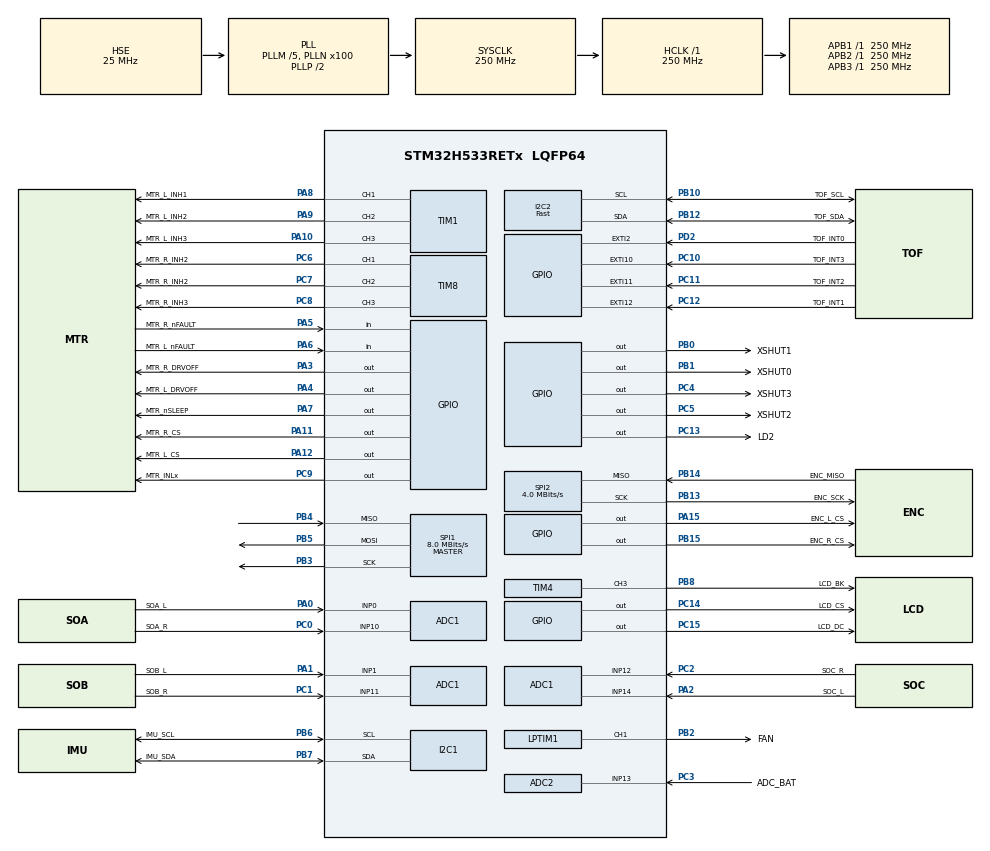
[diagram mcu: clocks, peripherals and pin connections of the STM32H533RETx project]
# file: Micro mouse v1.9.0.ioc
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ADC1.Channel-0\#ChannelRegularConversion=ADC_CHANNEL_0
ADC1.MonitoredBy-0\#ChannelRegularConversion=__NULL
ADC1.NbrOfConversionFlag=1
ADC1.OffsetNumber-0\#ChannelRegularConversion=ADC_OFFSET_NONE
ADC1.Rank-0\#ChannelRegularConversion=1
ADC1.SamplingTime-0\#ChannelRegularConversion=ADC_SAMPLETIME_2CYCLES_5
ADC1.master=1
ADC2.Channel-1\#ChannelRegularConversion=ADC_CHANNEL_13
ADC2.MonitoredBy-1\#ChannelRegularConversion=__NULL
ADC2.NbrOfConversionFlag=1
ADC2.OffsetNumber-1\#ChannelRegularConversion=ADC_OFFSET_NONE
ADC2.Rank-1\#ChannelRegularConversion=1
ADC2.SamplingTime-1\#ChannelRegularConversion=ADC_SAMPLETIME_2CYCLES_5
BOOTPATH.BootPathName=LEGACY
BOOTPATH.UserSelectedBootPath=LEGACY
CORTEX_M33_NS.userName=CORTEX_M33
GPDMA1.DESTINC_GPDMACH0=DMA_DINC_INCREMENTED
GPDMA1.IPHANDLE_GPDMACH0-SIMPLEREQUEST_GPDMACH0=__NULL
GPDMA1.PRIORITY_GPDMACH0=DMA_LOW_PRIORITY_HIGH_WEIGHT
GPDMA1.REQUEST_GPDMACH0=GPDMA1_REQUEST_I2C1_RX
I2C1.Timing=0x60808CD3
I2C2.I2C_Speed_Mode=I2C_Fast
I2C2.Timing=0x10C043E5
Mcu.Family=STM32H5
Mcu.Name=STM32H533RETx
Mcu.Package=LQFP64
NVIC.EXTI10_IRQn=true\:5\:0\:true\:false\:true\:true\:true\:true
NVIC.EXTI11_IRQn=true\:5\:0\:true\:false\:true\:true\:true\:true
NVIC.EXTI12_IRQn=true\:5\:0\:true\:false\:true\:true\:true\:true
NVIC.EXTI2_IRQn=true\:5\:0\:true\:false\:true\:true\:true\:true
NVIC.GPDMA1_Channel0_IRQn=true\:0\:0\:false\:false\:true\:false\:true\:true
NVIC.PriorityGroup=NVIC_PRIORITYGROUP_4
NVIC.TIM3_IRQn=true\:0\:0\:false\:false\:true\:true\:true\:true
NVIC.TIM6_IRQn=true\:0\:0\:false\:false\:true\:true\:true\:true
PA0.GPIO_Label=SOA_L
PA0.Signal=ADCx_INP0
PA1.GPIO_Label=SOB_L
PA1.Signal=ADCx_INP1
PA10.GPIO_Label=MTR_L_INH3
PA10.Signal=S_TIM1_CH3
PA11.GPIO_Label=MTR_R_CS
PA11.Signal=GPIO_Output
PA12.GPIO_Label=MTR_L_CS
PA12.Signal=GPIO_Output
PA13(JTMS/SWDIO).Mode=Serial_Wire
PA13(JTMS/SWDIO).Signal=DEBUG_JTMS-SWDIO
PA14(JTCK/SWCLK).Mode=Serial_Wire
PA14(JTCK/SWCLK).Signal=DEBUG_JTCK-SWCLK
PA15(JTDI).GPIO_Label=ENC_L_CS
PA15(JTDI).Signal=GPIO_Output
PA2.GPIO_Label=SOC_L
PA2.Signal=ADCx_INP14
PA3.GPIO_Label=MTR_R_DRVOFF
PA3.Signal=GPIO_Output
PA4.GPIO_Label=MTR_L_DRVOFF
PA4.Signal=GPIO_Output
PA5.GPIO_Label=MTR_R_nFAULT
PA5.Signal=GPIO_Input
PA6.GPIO_Label=MTR_L_nFAULT
PA6.Signal=GPIO_Input
PA7.GPIO_Label=MTR_nSLEEP
PA7.Signal=GPIO_Output
PA8.GPIO_Label=MTR_L_INH1
PA8.Signal=S_TIM1_CH1
PA9.GPIO_Label=MTR_L_INH2
PA9.Signal=S_TIM1_CH2
PB0.GPIO_Label=XSHUT1
PB0.GPIO_PuPd=GPIO_PULLUP
PB0.Signal=GPIO_Output
PB1.GPIO_Label=XSHUT0
PB1.GPIO_PuPd=GPIO_PULLUP
PB1.Signal=GPIO_Output
PB10.GPIO_Label=TOF_SCL
PB10.GPIO_Speed=GPIO_SPEED_FREQ_VERY_HIGH
PB10.Mode=I2C
PB10.Signal=I2C2_SCL
PB12.GPIO_Label=TOF_SDA
PB12.GPIO_Speed=GPIO_SPEED_FREQ_VERY_HIGH
PB12.Mode=I2C
PB12.Signal=I2C2_SDA
PB13.GPIO_Label=ENC_SCK
PB13.Mode=RX_Only_Simplex_Unidirect_Master
PB13.Signal=SPI2_SCK
PB14.GPIO_Label=ENC_MISO
PB14.Mode=RX_Only_Simplex_Unidirect_Master
PB14.Signal=SPI2_MISO
PB15.GPIO_Label=ENC_R_CS
PB15.Signal=GPIO_Output
PB2.GPIO_Label=FAN
PB2.Signal=S_LPTIM1_CH1
PB3(JTDO/TRACESWO).Mode=Full_Duplex_Master
PB3(JTDO/TRACESWO).Signal=SPI1_SCK
PB4(NJTRST).Mode=Full_Duplex_Master
PB4(NJTRST).Signal=SPI1_MISO
PB5.Mode=Full_Duplex_Master
PB5.Signal=SPI1_MOSI
PB6.GPIO_Label=IMU_SCL
PB6.Mode=I2C
PB6.Signal=I2C1_SCL
PB7.GPIO_Label=IMU_SDA
PB7.Mode=I2C
PB7.Signal=I2C1_SDA
PB8.GPIO_Label=LCD_BK
PB8.Signal=S_TIM4_CH3
PC0.GPIO_Label=SOA_R
PC0.Signal=ADCx_INP10
PC1.GPIO_Label=SOB_R
PC1.Signal=ADCx_INP11
PC10.GPIO_Label=TOF_INT3
PC10.GPIO_ModeDefaultEXTI=GPIO_MODE_IT_FALLING
PC10.GPIO_PuPd=GPIO_PULLUP
PC10.Signal=GPXTI10
PC11.GPIO_Label=TOF_INT2
PC11.GPIO_ModeDefaultEXTI=GPIO_MODE_IT_FALLING
PC11.GPIO_PuPd=GPIO_PULLUP
PC11.Signal=GPXTI11
PC12.GPIO_Label=TOF_INT1
PC12.GPIO_ModeDefaultEXTI=GPIO_MODE_IT_FALLING
PC12.GPIO_PuPd=GPIO_PULLUP
PC12.Signal=GPXTI12
PC13.GPIO_Label=LD2
PC13.Signal=GPIO_Output
PC14-OSC32_IN(OSC32_IN).GPIO_Label=LCD_CS
PC14-OSC32_IN(OSC32_IN).PinState=GPIO_PIN_SET
PC14-OSC32_IN(OSC32_IN).Signal=GPIO_Output
PC15-OSC32_OUT(OSC32_OUT).GPIO_Label=LCD_DC
PC15-OSC32_OUT(OSC32_OUT).GPIO_ModeDefaultOutputPP=GPIO_MODE_OUTPUT_PP
PC15-OSC32_OUT(OSC32_OUT).PinState=GPIO_PIN_SET
PC15-OSC32_OUT(OSC32_OUT).Signal=GPIO_Output
PC2.GPIO_Label=SOC_R
PC2.Signal=ADCx_INP12
PC3.GPIO_Label=ADC_BAT
PC3.Signal=ADCx_INP13
PC4.GPIO_Label=XSHUT3
PC4.GPIO_PuPd=GPIO_PULLUP
PC4.Signal=GPIO_Output
PC5.GPIO_Label=XSHUT2
PC5.GPIO_PuPd=GPIO_PULLUP
PC5.Signal=GPIO_Output
PC6.GPIO_Label=MTR_R_INH2
PC6.Signal=S_TIM8_CH1
PC7.GPIO_Label=MTR_R_INH2
PC7.Signal=S_TIM8_CH2
PC8.GPIO_Label=MTR_R_INH3
PC8.Signal=S_TIM8_CH3
PC9.GPIO_Label=MTR_INLx
PC9.Signal=GPIO_Output
PD2.GPIO_Label=TOF_INT0
PD2.GPIO_ModeDefaultEXTI=GPIO_MODE_IT_FALLING
PD2.GPIO_PuPd=GPIO_PULLUP
PD2.Signal=GPXTI2
PH0-OSC_IN(PH0).Mode=HSE-External-Oscillator
PH0-OSC_IN(PH0).Signal=RCC_OSC_IN
PH1-OSC_OUT(PH1).Mode=HSE-External-Oscillator
PH1-OSC_OUT(PH1).Signal=RCC_OSC_OUT
ProjectManager.HeapSize=0x200
ProjectManager.StackSize=0x400
ProjectManager.TargetToolchain=STM32CubeIDE
RCC.ADCFreq_Value=250000000
RCC.AHBFreq_Value=250000000
RCC.APB1Freq_Value=250000000
RCC.APB1TimFreq_Value=250000000
RCC.APB2Freq_Value=250000000
RCC.APB2TimFreq_Value=250000000
RCC.APB3Freq_Value=250000000
RCC.CSI_VALUE=4000000
RCC.CortexFreq_Value=250000000
RCC.EPOD_VALUE=25000000
RCC.HCLKFreq_Value=250000000
RCC.HSE_VALUE=25000000
RCC.HSI48_VALUE=48000000
RCC.HSI_VALUE=64000000
RCC.LSE_VALUE=32768
RCC.LSIRC_VALUE=32000
RCC.PLL1Q=3
RCC.PLL2M=5
RCC.PLL2N=128
RCC.PLL2Source=RCC_PLL2_SOURCE_HSE
RCC.PLLFRACN=0
RCC.PLLM=5
RCC.PLLN=100
RCC.PLLSourceVirtual=RCC_PLL1_SOURCE_HSE
RCC.SPI1CLockSelection=RCC_SPI1CLKSOURCE_CLKP
RCC.SPI2CLockSelection=RCC_SPI2CLKSOURCE_CLKP
RCC.SYSCLKFreq_VALUE=250000000
RCC.SYSCLKSource=RCC_SYSCLKSOURCE_PLLCLK
RCC.USBFreq_Value=48000000
RCC.VCOOutputFreq_Value=500000000
SH.ADCx_INP0.0=ADC1_INP0,IN0-Single-Ended
SH.ADCx_INP1.0=ADC1_INP1,IN1-Single-Ended
SH.ADCx_INP10.0=ADC1_INP10,IN10-Single-Ended
SH.ADCx_INP11.0=ADC1_INP11,IN11-Single-Ended
SH.ADCx_INP12.0=ADC1_INP12,IN12-Single-Ended
SH.ADCx_INP13.0=ADC2_INP13,IN13-Single-Ended
SH.ADCx_INP14.0=ADC1_INP14,IN14-Single-Ended
SH.S_LPTIM1_CH1.0=LPTIM1_CH1,OutputIO_CH1
SH.S_TIM1_CH1.0=TIM1_CH1,PWM Generation1 CH1
SH.S_TIM1_CH2.0=TIM1_CH2,PWM Generation2 CH2
SH.S_TIM1_CH3.0=TIM1_CH3,PWM Generation3 CH3
SH.S_TIM4_CH3.0=TIM4_CH3,PWM Generation3 CH3
SH.S_TIM8_CH1.0=TIM8_CH1,PWM Generation1 CH1
SH.S_TIM8_CH2.0=TIM8_CH2,PWM Generation2 CH2
SH.S_TIM8_CH3.0=TIM8_CH3,PWM Generation3 CH3
SPI1.BaudRatePrescaler=SPI_BAUDRATEPRESCALER_4
SPI1.CalculateBaudRate=8.0 MBits/s
SPI1.DataSize=SPI_DATASIZE_8BIT
SPI1.Direction=SPI_DIRECTION_2LINES
SPI1.Mode=SPI_MODE_MASTER
SPI1.VirtualType=VM_MASTER
SPI2.BaudRatePrescaler=SPI_BAUDRATEPRESCALER_8
SPI2.CalculateBaudRate=4.0 MBits/s
SPI2.DataSize=SPI_DATASIZE_8BIT
SPI2.Direction=SPI_DIRECTION_2LINES_RXONLY
SPI2.Mode=SPI_MODE_MASTER
SPI2.VirtualType=VM_MASTER
TIM1.Channel-PWM\ Generation1\ CH1=TIM_CHANNEL_1
TIM1.Channel-PWM\ Generation2\ CH2=TIM_CHANNEL_2
TIM1.Channel-PWM\ Generation3\ CH3=TIM_CHANNEL_3
TIM3.PeriodNoDither=9999
TIM3.Prescaler=249
TIM4.Channel-PWM\ Generation3\ CH3=TIM_CHANNEL_3
TIM4.OC3Preload_PWM=ENABLE
TIM4.OCFastMode_PWM-PWM\ Generation3\ CH3=TIM_OCFAST_ENABLE
TIM4.OCMode_PWM-PWM\ Generation3\ CH3=TIM_OCMODE_PWM2
TIM4.PeriodNoDither=999
TIM6.PeriodNoDither=999
TIM6.Prescaler=249
TIM8.Channel-PWM\ Generation1\ CH1=TIM_CHANNEL_1
TIM8.Channel-PWM\ Generation2\ CH2=TIM_CHANNEL_2
TIM8.Channel-PWM\ Generation3\ CH3=TIM_CHANNEL_3
VP_BOOTPATH_VS_BOOTPATH.Mode=BP_Activate
VP_CORTEX_M33_NS_VS_Hclk.Mode=Hclk_Mode
VP_FLASH_SIG_Activate_FlashIP.Mode=Activate_FlashIP
VP_GPDMA1_VS_GPDMACH0.Mode=SIMPLEREQUEST_GPDMACH0
VP_ICACHE_VS_ENABLE_ICACHE_MEMORY.Mode=Memoryregions
VP_ICACHE_VS_ICACHE.Mode=DefaultMode
VP_LPTIM1_VS_CH1.Mode=Channel_1_Active
VP_LPTIM1_VS_LPTIM_counterModeInternalClock.Mode=Counts__internal_clock_event_00
VP_MEMORYMAP_VS_MEMORYMAP.Mode=CurAppReg
VP_PWR_VS_LPOM.Mode=PowerOptimisation
VP_PWR_VS_SECSignals.Mode=Security/Privilege
VP_TIM12_VS_ClockSourceINT.Mode=Internal
VP_TIM15_VS_ClockSourceINT.Mode=Internal
VP_TIM2_VS_ClockSourceINT.Mode=Internal
VP_TIM3_VS_ClockSourceINT.Mode=Internal
VP_TIM4_VS_ClockSourceINT.Mode=Internal
VP_TIM5_VS_ClockSourceINT.Mode=Internal
VP_TIM6_VS_ClockSourceINT.Mode=Enable_Timer
VP_TIM7_VS_ClockSourceINT.Mode=Enable_Timer
board=custom

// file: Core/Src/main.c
/* USER CODE BEGIN Header */
/**
 ******************************************************************************
 * @file           : main.c
 * @brief          : Main program body
 ******************************************************************************
 * @attention
 *
 * Copyright (c) 2026 STMicroelectronics.
 * All rights reserved.
 *
 * This software is licensed under terms that can be found in the LICENSE file
 * in the root directory of this software component.
 * If no LICENSE file comes with this software, it is provided AS-IS.
 *
 ******************************************************************************
 */
/* USER CODE END Header */
#include "main.h"
#include "adc.h"
#include "flash.h"
#include "gpdma.h"
#include "i2c.h"
#include "icache.h"
#include "lptim.h"
#include "spi.h"
#include "tim.h"
#include "gpio.h"

/* USER CODE BEGIN Includes */
#include "lcd.h"
#include "drv8316crq1.h"
#include "lsm6ds3tr-c.h"
#include "vl53l4cx.h"
#include "mt6701.h"
/* USER CODE END Includes */

/* USER CODE BEGIN PV */
char error_log[20];

/* USER CODE END PV */

void SystemClock_Config(void);
void PeriphCommonClock_Config(void);

int main(void)
{

  /* MCU Configuration--------------------------------------------------------*/

  /* Reset of all peripherals, Initializes the Flash interface and the Systick. */
  HAL_Init();

  /* Configure the system clock */
  SystemClock_Config();

  /* Configure the peripherals common clocks */
  PeriphCommonClock_Config();

  /* Initialize all configured peripherals */
  MX_GPIO_Init();
  MX_GPDMA1_Init();
  MX_ADC1_Init();
  MX_ADC2_Init();
  MX_FLASH_Init();
  MX_I2C1_Init();
  MX_I2C2_Init();
  MX_ICACHE_Init();
  MX_LPTIM1_Init();
  MX_SPI1_Init();
  MX_SPI2_Init();
  MX_TIM1_Init();
  MX_TIM4_Init();
  MX_TIM8_Init();
  MX_TIM2_Init();
  MX_TIM3_Init();
  MX_TIM5_Init();
  MX_TIM6_Init();
  MX_TIM7_Init();
  MX_TIM15_Init();
  MX_TIM12_Init();
  /* USER CODE BEGIN 2 */
	TRIG_ON;
//	MX_DRV8316C_Init();
	LCD_Test();
	LCD_Printf(0, 0, "Hello World");

//	if (LSM6DS3_Init() != HAL_OK) {
//		sprintf(error_log, "IMU Init Fail");
//		Error_Handler();
//	}
//
//	Gyro_Calibrate_Z_Only();
//	HAL_TIM_Base_Start(&htim2);
//	HAL_TIM_Base_Start_IT(&htim6);
//	MX_VL53L4CX_Init();
//	VL53L4CX_Start();
//
//	HAL_NVIC_DisableIRQ(EXTI10_IRQn);
//	HAL_NVIC_DisableIRQ(EXTI11_IRQn);
//	HAL_NVIC_DisableIRQ(EXTI12_IRQn);
//	HAL_NVIC_DisableIRQ(EXTI2_IRQn);

	TRIG_OFF;
  /* USER CODE END 2 */

  /* Infinite loop */
  /* USER CODE BEGIN WHILE */
	while (1) {
		MT6701_ReadSSI();
		LCD_Printf(0, 1, "%6d", encData.raw_angle);
		HAL_Delay(100);
//		TRIG_TOGGLE;
    /* USER CODE END WHILE */

	}
}

void SystemClock_Config(void)
{
  RCC_OscInitTypeDef RCC_OscInitStruct = {0};
  RCC_ClkInitTypeDef RCC_ClkInitStruct = {0};

  /** Configure the main internal regulator output voltage
  */
  __HAL_PWR_VOLTAGESCALING_CONFIG(PWR_REGULATOR_VOLTAGE_SCALE0);

  while(!__HAL_PWR_GET_FLAG(PWR_FLAG_VOSRDY)) {}

  /** Initializes the RCC Oscillators according to the specified parameters
  * in the RCC_OscInitTypeDef structure.
  */
  RCC_OscInitStruct.OscillatorType = RCC_OSCILLATORTYPE_HSI|RCC_OSCILLATORTYPE_HSE;
  RCC_OscInitStruct.HSEState = RCC_HSE_ON;
  RCC_OscInitStruct.HSIState = RCC_HSI_ON;
  RCC_OscInitStruct.HSIDiv = RCC_HSI_DIV2;
  RCC_OscInitStruct.HSICalibrationValue = RCC_HSICALIBRATION_DEFAULT;
  RCC_OscInitStruct.PLL.PLLState = RCC_PLL_ON;
  RCC_OscInitStruct.PLL.PLLSource = RCC_PLL1_SOURCE_HSE;
  RCC_OscInitStruct.PLL.PLLM = 5;
  RCC_OscInitStruct.PLL.PLLN = 100;
  RCC_OscInitStruct.PLL.PLLP = 2;
  RCC_OscInitStruct.PLL.PLLQ = 3;
  RCC_OscInitStruct.PLL.PLLR = 2;
  RCC_OscInitStruct.PLL.PLLRGE = RCC_PLL1_VCIRANGE_2;
  RCC_OscInitStruct.PLL.PLLVCOSEL = RCC_PLL1_VCORANGE_WIDE;
  RCC_OscInitStruct.PLL.PLLFRACN = 0;
  if (HAL_RCC_OscConfig(&RCC_OscInitStruct) != HAL_OK)
  {
    Error_Handler();
  }

  /** Initializes the CPU, AHB and APB buses clocks
  */
  RCC_ClkInitStruct.ClockType = RCC_CLOCKTYPE_HCLK|RCC_CLOCKTYPE_SYSCLK
                              |RCC_CLOCKTYPE_PCLK1|RCC_CLOCKTYPE_PCLK2
                              |RCC_CLOCKTYPE_PCLK3;
  RCC_ClkInitStruct.SYSCLKSource = RCC_SYSCLKSOURCE_PLLCLK;
  RCC_ClkInitStruct.AHBCLKDivider = RCC_SYSCLK_DIV1;
  RCC_ClkInitStruct.APB1CLKDivider = RCC_HCLK_DIV1;
  RCC_ClkInitStruct.APB2CLKDivider = RCC_HCLK_DIV1;
  RCC_ClkInitStruct.APB3CLKDivider = RCC_HCLK_DIV1;

  if (HAL_RCC_ClockConfig(&RCC_ClkInitStruct, FLASH_LATENCY_5) != HAL_OK)
  {
    Error_Handler();
  }

  /** Configure the programming delay
  */
  __HAL_FLASH_SET_PROGRAM_DELAY(FLASH_PROGRAMMING_DELAY_2);
}

void PeriphCommonClock_Config(void)
{
  RCC_PeriphCLKInitTypeDef PeriphClkInitStruct = {0};

  /** Initializes the peripherals clock
  */
  PeriphClkInitStruct.PeriphClockSelection = RCC_PERIPHCLK_CKPER;
  PeriphClkInitStruct.CkperClockSelection = RCC_CLKPSOURCE_HSI;
  if (HAL_RCCEx_PeriphCLKConfig(&PeriphClkInitStruct) != HAL_OK)
  {
    Error_Handler();
  }
}

void Error_Handler(void)
{
  /* USER CODE BEGIN Error_Handler_Debug */
	/* User can add his own implementation to report the HAL error return state */
//	__disable_irq();
	LCD_Clear();
	LCD_Printf(0, 0, error_log);
	while (1) {
		HAL_GPIO_TogglePin(LD2_GPIO_Port, LD2_Pin);
		HAL_Delay(100);
	}
  /* USER CODE END Error_Handler_Debug */
}
